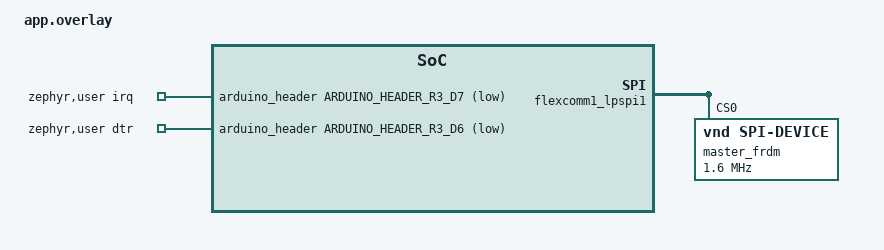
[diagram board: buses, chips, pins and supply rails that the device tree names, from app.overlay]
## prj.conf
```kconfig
CONFIG_SPI=y
CONFIG_MAIN_STACK_SIZE=8192
CONFIG_SPI_NXP_LPSPI=y
CONFIG_SPI_NXP_LPSPI_DMA=n
CONFIG_SPI_ASYNC=n
CONFIG_GPIO=y
CONFIG_HEAP_MEM_POOL_SIZE=2048
CONFIG_PRINTK=y
```

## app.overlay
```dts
&flexcomm1_lpspi1 {
	transfer-delay = <100>;
	sck-pcs-delay = <200>;
	pcs-sck-delay = <200>;
	master_frdm: master_frdm@0 {
		compatible = "vnd,spi-device";
		reg = <0>;
		spi-max-frequency = <1600000>;
		label = "master_frdm";
	};
};

&flexcomm1 {
	interrupts = <36 1>;
};

/ {
	zephyr,user {
		irq_gpios = <&arduino_header ARDUINO_HEADER_R3_D7 GPIO_ACTIVE_LOW>;
		dtr_gpios = <&arduino_header ARDUINO_HEADER_R3_D6 GPIO_ACTIVE_LOW>;
	};
};
```

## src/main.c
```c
#include <zephyr/kernel.h>
#include <zephyr/drivers/spi.h>
#include <zephyr/sys/printk.h>
#include <zephyr/drivers/gpio.h>
#include <string.h>

#define MAX_PACKET_SIZE 255
const static uint8_t target_adr = 0x77;

K_MSGQ_DEFINE(spi_queue, MAX_PACKET_SIZE, 8, 4);

struct packet
{
    uint8_t crc8:8;              // bits 0:7, CRC8 of the rest of the packet
    uint8_t initiator:1;        // bit 8, 0 if transfer was init by master, 1 if init by slave
    uint8_t seqnum:7;           // bits 9:15, 7-bit sequence number according to initiator seqnum counter
    uint16_t size:16;           // bits 16:31, 16-bit data size field, the total size of the data array
    uint8_t data[];             // arbitrary size data field according to size
}__attribute__((packed));

static void init_buffer(struct spi_buf_set* buf_set, struct spi_buf* buf, size_t len, void* data) {
	buf->buf = data;
	buf->len = len;
	buf_set->buffers = buf;
	buf_set->count = 1;
	return;
}

#define SPI_OP (SPI_OP_MODE_MASTER | SPI_MODE_CPOL | SPI_MODE_CPHA | \
                SPI_WORD_SET(8) | SPI_TRANSFER_MSB | SPI_LINES_SINGLE)

static const struct spi_dt_spec master_dev =
    SPI_DT_SPEC_GET(DT_NODELABEL(master_frdm), SPI_OP);

static const struct gpio_dt_spec irq_pin = GPIO_DT_SPEC_GET(DT_PATH(zephyr_user), irq_gpios);
static const struct gpio_dt_spec dtr_pin = GPIO_DT_SPEC_GET(DT_PATH(zephyr_user), dtr_gpios);

static struct k_sem irq_sem;

void signal_callback(const struct device *dev, struct gpio_callback *cb, uint32_t pins) {
	printk("interrupt fired\n");
	k_sem_give(&irq_sem);
}

K_THREAD_STACK_DEFINE(transceive_thread_stack, 2048)
static struct k_thread transceive_thread;

void master_transceive(uint8_t* packet) {

	uint8_t tx_buffer[255] = {0};
	uint8_t rx_buffer[255] = {0};
	if (packet != NULL) {
		memcpy(tx_buffer, packet, MAX_PACKET_SIZE);
	}
	struct spi_buf_set rx_buf_set;
	struct spi_buf_set tx_buf_set;

	struct spi_buf rx_buf;
	struct spi_buf tx_buf;
	init_buffer(&tx_buf_set, &tx_buf, MAX_PACKET_SIZE, (void*)tx_buffer);
	init_buffer(&rx_buf_set, &rx_buf, MAX_PACKET_SIZE, (void*)rx_buffer);
	spi_transceive_dt(&master_dev, &tx_buf_set, &rx_buf_set);
	struct packet* rx_packet = (struct packet*)rx_buffer;
	printk("received data\n");
	for (int i = 0; i < 32; i++) {
		printk("0x%X ", rx_buffer[i]);
	}
	printk("\n");
	// after every recieved msg we always check to ensure if what we received was significant.
	if (rx_packet->size > 0 && rx_packet->size <= MAX_PACKET_SIZE - sizeof(struct packet)) {
		// this is typically where some kind of msg handling would happen after we recieve a
		// command. for now we can just print out.
		printk("%d", (int)rx_packet->data[1]);
	}
}

void master_transceive_thread(void* p1, void* p2, void* p3) {
	while (1) {
		uint8_t pending_packet[MAX_PACKET_SIZE];
		// check if isr fired from slave
		if (k_sem_take(&irq_sem, K_NO_WAIT) == 0) {
			master_transceive(NULL);
		}
		// or if master has anything to send
		if (k_msgq_get(&spi_queue, pending_packet, K_NO_WAIT) == 0) {
			gpio_pin_set_dt(&dtr_pin, 1);
			k_sem_take(&irq_sem, K_FOREVER);
			gpio_pin_set_dt(&dtr_pin, 0);
			master_transceive(&pending_packet);
		}
		k_yield();
	}
}


int main(void) {
	k_sem_init(&irq_sem, 0, 1);
	if (!spi_is_ready_dt(&master_dev)) {
		printk("SPI device not ready\n");
		return 0;
	}
	k_thread_create(&transceive_thread,
                  transceive_thread_stack,
                  K_THREAD_STACK_SIZEOF(transceive_thread_stack),
                  master_transceive_thread,
                  NULL, NULL, NULL,
                  0, 0, K_NO_WAIT);

	static struct gpio_callback signal_cb_data;
	gpio_pin_configure_dt(&irq_pin, GPIO_INPUT);
	gpio_pin_configure_dt(&dtr_pin, GPIO_OUTPUT_INACTIVE);
	gpio_pin_interrupt_configure_dt(&irq_pin, GPIO_INT_EDGE_TO_ACTIVE);
	gpio_init_callback(&signal_cb_data, signal_callback, BIT(irq_pin.pin));
	gpio_add_callback(irq_pin.port, &signal_cb_data);
	while (1) {
		struct packet p = { .crc8 = 0, .initiator = 0, .seqnum = 0, .size = 2, };
		p.data[0] = 0x01;
		p.data[1] = 0xA;
		k_msgq_put(&spi_queue, &p, K_FOREVER);
	}
	return 0;
}
```
